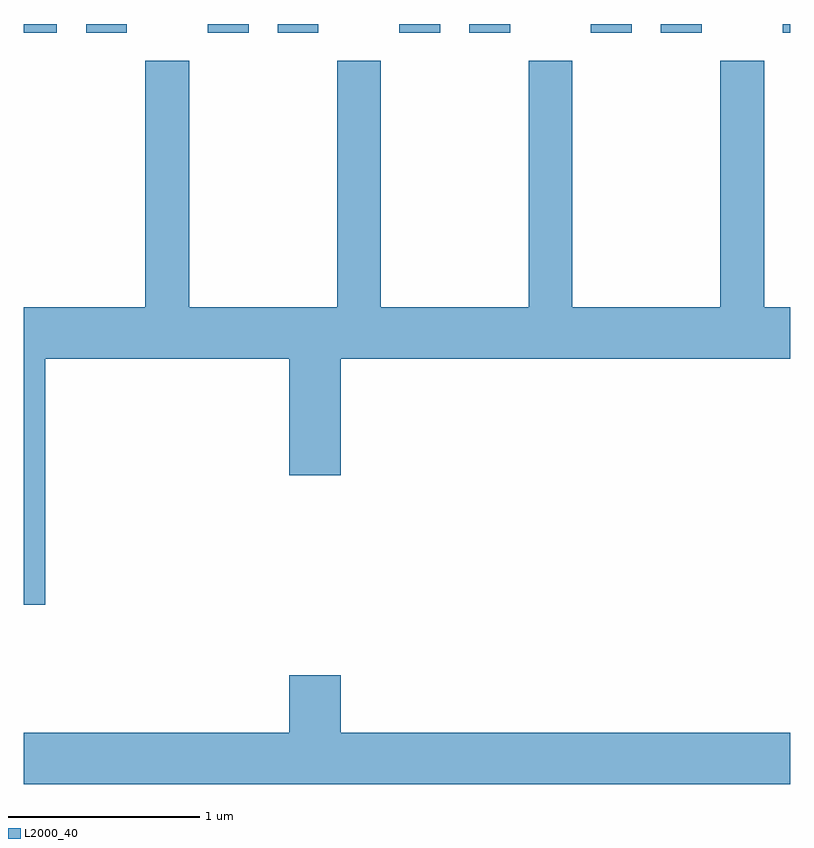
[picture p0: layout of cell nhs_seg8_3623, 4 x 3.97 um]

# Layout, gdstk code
import gdstk
lib = gdstk.Library(unit=1e-6, precision=1e-09)
def R(c, l, rs):  # rectangles x0, y0, x1, y1
    for r in rs: c.add(gdstk.rectangle(r[:2], r[2:], *l))
def P(c, l, *ps):  # polygons
    for p in ps: c.add(gdstk.Polygon(p, *l))
L2000_40 = (2000, 40)

nhs_seg8_3623 = lib.new_cell('nhs_seg8_3623')
R(nhs_seg8_3623, L2000_40, [(293.611,1880.296,293.784,1880.342), (293.936,1880.296,294.149,1880.342), (294.571,1880.296,294.784,1880.342), (294.936,1880.296,295.149,1880.342), (295.571,1880.296,295.784,1880.342), (295.936,1880.296,296.149,1880.342), (296.571,1880.296,296.784,1880.342), (296.936,1880.296,297.149,1880.342), (297.571,1880.296,297.611,1880.342)])
P(nhs_seg8_3623, L2000_40, [(293.724,1878.596),(294.996,1878.596),(294.996,1877.986),(295.264,1877.986),(295.264,1878.596),(297.611,1878.596),(297.611,1878.864),(297.474,1878.864),(297.474,1880.149),(297.246,1880.149),(297.246,1878.864),(296.474,1878.864),(296.474,1880.149),(296.246,1880.149),(296.246,1878.864),(295.474,1878.864),(295.474,1880.149),(295.246,1880.149),(295.246,1878.864),(294.474,1878.864),(294.474,1880.149),(294.246,1880.149),(294.246,1878.864),(293.611,1878.864),(293.611,1877.311),(293.724,1877.311)],
  [(297.611,1876.644),(295.264,1876.644),(295.264,1876.944),(294.996,1876.944),(294.996,1876.644),(293.611,1876.644),(293.611,1876.376),(297.611,1876.376)])

lib.write_gds('nhs_seg8_3623.gds')
